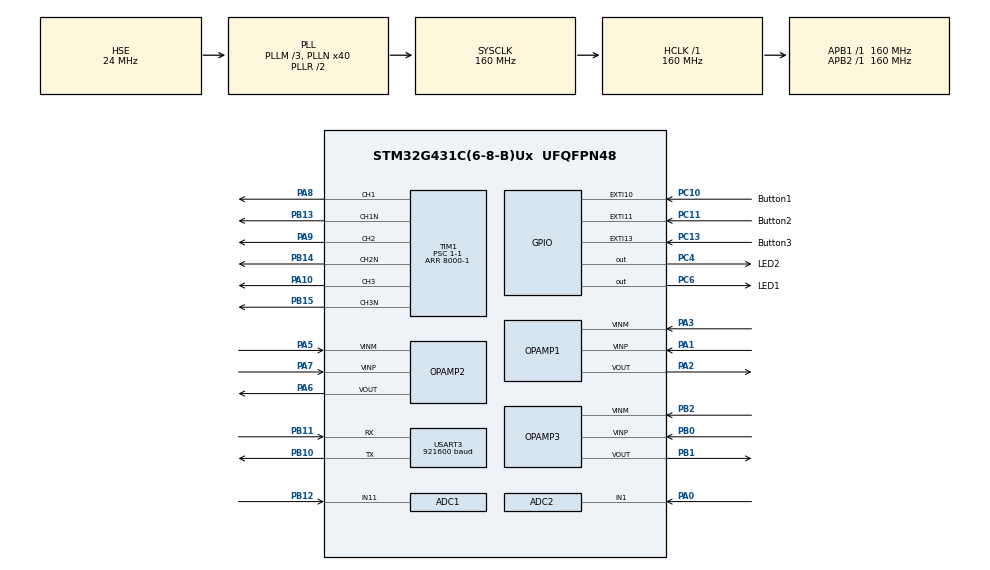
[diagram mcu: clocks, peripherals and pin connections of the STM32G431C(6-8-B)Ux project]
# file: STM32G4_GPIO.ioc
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ADC1.Channel-0\#ChannelRegularConversion=ADC_CHANNEL_11
ADC1.ClockPrescaler=ADC_CLOCK_ASYNC_DIV4
ADC1.EnableInjectedConversion=ENABLE
ADC1.ExternalTrigInjecConv=ADC_EXTERNALTRIGINJEC_T1_CC4
ADC1.InjNumberOfConversion=2
ADC1.InjectedChannel-1\#ChannelInjectedConversion=ADC_CHANNEL_3
ADC1.InjectedChannel-2\#ChannelInjectedConversion=ADC_CHANNEL_12
ADC1.InjectedOffsetNumber-1\#ChannelInjectedConversion=ADC_OFFSET_NONE
ADC1.InjectedOffsetNumber-2\#ChannelInjectedConversion=ADC_OFFSET_NONE
ADC1.InjectedRank-1\#ChannelInjectedConversion=1
ADC1.InjectedRank-2\#ChannelInjectedConversion=2
ADC1.InjectedSamplingTime-1\#ChannelInjectedConversion=ADC_SAMPLETIME_6CYCLES_5
ADC1.InjectedSamplingTime-2\#ChannelInjectedConversion=ADC_SAMPLETIME_6CYCLES_5
ADC1.NbrOfConversionFlag=1
ADC1.OffsetNumber-0\#ChannelRegularConversion=ADC_OFFSET_NONE
ADC1.Rank-0\#ChannelRegularConversion=1
ADC1.SamplingTime-0\#ChannelRegularConversion=ADC_SAMPLETIME_2CYCLES_5
ADC1.master=1
ADC2.Channel-2\#ChannelRegularConversion=ADC_CHANNEL_1
ADC2.ClockPrescaler=ADC_CLOCK_ASYNC_DIV4
ADC2.EnableInjectedConversion=ENABLE
ADC2.EnableRegularConversion=ENABLE
ADC2.ExternalTrigInjecConv=ADC_EXTERNALTRIGINJEC_T1_CC4
ADC2.InjNumberOfConversion=1
ADC2.InjectedChannel-1\#ChannelInjectedConversion=ADC_CHANNEL_3
ADC2.InjectedOffsetNumber-1\#ChannelInjectedConversion=ADC_OFFSET_NONE
ADC2.InjectedRank-1\#ChannelInjectedConversion=1
ADC2.InjectedSamplingTime-1\#ChannelInjectedConversion=ADC_SAMPLETIME_6CYCLES_5
ADC2.NbrOfConversionFlag=1
ADC2.OffsetNumber-2\#ChannelRegularConversion=ADC_OFFSET_NONE
ADC2.Rank-2\#ChannelRegularConversion=1
ADC2.SamplingTime-2\#ChannelRegularConversion=ADC_SAMPLETIME_2CYCLES_5
Dma.Request0=USART3_TX
Dma.USART3_TX.0.Direction=DMA_MEMORY_TO_PERIPH
Dma.USART3_TX.0.EventEnable=DISABLE
Dma.USART3_TX.0.Instance=DMA1_Channel1
Dma.USART3_TX.0.MemDataAlignment=DMA_MDATAALIGN_BYTE
Dma.USART3_TX.0.MemInc=DMA_MINC_ENABLE
Dma.USART3_TX.0.Mode=DMA_NORMAL
Dma.USART3_TX.0.PeriphDataAlignment=DMA_PDATAALIGN_BYTE
Dma.USART3_TX.0.PeriphInc=DMA_PINC_DISABLE
Dma.USART3_TX.0.Polarity=HAL_DMAMUX_REQ_GEN_RISING
Dma.USART3_TX.0.Priority=DMA_PRIORITY_LOW
Dma.USART3_TX.0.RequestNumber=1
Dma.USART3_TX.0.SignalID=NONE
Dma.USART3_TX.0.SyncEnable=DISABLE
Dma.USART3_TX.0.SyncPolarity=HAL_DMAMUX_SYNC_NO_EVENT
Dma.USART3_TX.0.SyncRequestNumber=1
Dma.USART3_TX.0.SyncSignalID=NONE
Mcu.Family=STM32G4
Mcu.Name=STM32G431C(6-8-B)Ux
Mcu.Package=UFQFPN48
NVIC.ADC1_2_IRQn=true\:0\:0\:false\:false\:true\:true\:true
NVIC.DMA1_Channel1_IRQn=true\:0\:0\:false\:false\:true\:false\:true
NVIC.EXTI15_10_IRQn=true\:0\:0\:false\:false\:true\:true\:true
NVIC.PriorityGroup=NVIC_PRIORITYGROUP_4
NVIC.TIM1_BRK_TIM15_IRQn=true\:0\:0\:false\:false\:true\:true\:true
NVIC.TIM1_CC_IRQn=true\:0\:0\:false\:false\:true\:true\:true
NVIC.TIM1_UP_TIM16_IRQn=true\:0\:0\:false\:false\:true\:true\:true
NVIC.USART3_IRQn=true\:0\:0\:false\:false\:true\:true\:true
PA0.Mode=IN1-Single-Ended
PA0.Signal=ADC2_IN1
PA1.Mode=Standalone
PA1.Signal=OPAMP1_VINP
PA10.Signal=S_TIM1_CH3
PA13.Mode=Serial_Wire
PA13.Signal=SYS_JTMS-SWDIO
PA14.Mode=Serial_Wire
PA14.Signal=SYS_JTCK-SWCLK
PA2.Signal=SharedAnalog_PA2
PA3.Mode=Standalone
PA3.Signal=OPAMP1_VINM
PA5.Mode=Standalone
PA5.Signal=OPAMP2_VINM
PA6.Signal=SharedAnalog_PA6
PA7.Mode=Standalone
PA7.Signal=OPAMP2_VINP
PA8.Signal=S_TIM1_CH1
PA9.Signal=S_TIM1_CH2
PB0.Mode=Standalone
PB0.Signal=OPAMP3_VINP
PB1.Signal=SharedAnalog_PB1
PB10.Mode=Asynchronous
PB10.Signal=USART3_TX
PB11.Mode=Asynchronous
PB11.Signal=USART3_RX
PB12.Mode=IN11-Single-Ended
PB12.Signal=ADC1_IN11
PB13.Mode=PWM Generation1 CH1 CH1N
PB13.Signal=TIM1_CH1N
PB14.Mode=PWM Generation2 CH2 CH2N
PB14.Signal=TIM1_CH2N
PB15.Mode=PWM Generation3 CH3 CH3N
PB15.Signal=TIM1_CH3N
PB2.Mode=Standalone
PB2.Signal=OPAMP3_VINM
PC10.GPIO_Label=Button1
PC10.Signal=GPXTI10
PC11.GPIO_Label=Button2
PC11.Signal=GPXTI11
PC13.GPIO_Label=Button3
PC13.Signal=GPXTI13
PC4.GPIO_Label=LED2
PC4.Signal=GPIO_Output
PC6.GPIO_Label=LED1
PC6.Signal=GPIO_Output
PF0-OSC_IN.Mode=HSE-External-Oscillator
PF0-OSC_IN.Signal=RCC_OSC_IN
PF1-OSC_OUT.Mode=HSE-External-Oscillator
PF1-OSC_OUT.Signal=RCC_OSC_OUT
ProjectManager.HeapSize=0x200
ProjectManager.StackSize=0x400
ProjectManager.TargetToolchain=MDK-ARM V5.32
RCC.ADC12Freq_Value=160000000
RCC.AHBFreq_Value=160000000
RCC.APB1Freq_Value=160000000
RCC.APB1TimFreq_Value=160000000
RCC.APB2Freq_Value=160000000
RCC.APB2TimFreq_Value=160000000
RCC.CortexFreq_Value=160000000
RCC.EXTERNAL_CLOCK_VALUE=12288000
RCC.HCLKFreq_Value=160000000
RCC.HSE_VALUE=24000000
RCC.HSI48_VALUE=48000000
RCC.HSI_VALUE=16000000
RCC.LSE_VALUE=32768
RCC.PLLM=RCC_PLLM_DIV3
RCC.PLLN=40
RCC.PLLSourceVirtual=RCC_PLLSOURCE_HSE
RCC.SYSCLKFreq_VALUE=160000000
RCC.SYSCLKSource=RCC_SYSCLKSOURCE_PLLCLK
RCC.USBFreq_Value=160000000
RCC.VCOOutputFreq_Value=320000000
SH.S_TIM1_CH1.0=TIM1_CH1,PWM Generation1 CH1 CH1N
SH.S_TIM1_CH2.0=TIM1_CH2,PWM Generation2 CH2 CH2N
SH.S_TIM1_CH3.0=TIM1_CH3,PWM Generation3 CH3 CH3N
SH.SharedAnalog_PA2.0=OPAMP1_VOUT,Standalone
SH.SharedAnalog_PA2.1=ADC1_IN3,IN3-Single-Ended
SH.SharedAnalog_PA6.0=OPAMP2_VOUT,Standalone
SH.SharedAnalog_PA6.1=ADC2_IN3,IN3-Single-Ended
SH.SharedAnalog_PB1.0=OPAMP3_VOUT,Standalone
SH.SharedAnalog_PB1.1=ADC1_IN12,IN12-Single-Ended
STMicroelectronics.X-CUBE-ALGOBUILD.1.3.0.LibraryCcDSPOoLibraryJjDSPOoLibrary=true
TIM1.Channel-PWM\ Generation1\ CH1\ CH1N=TIM_CHANNEL_1
TIM1.Channel-PWM\ Generation2\ CH2\ CH2N=TIM_CHANNEL_2
TIM1.Channel-PWM\ Generation3\ CH3\ CH3N=TIM_CHANNEL_3
TIM1.Channel-PWM\ Generation4\ No\ Output=TIM_CHANNEL_4
TIM1.ClockDivision=TIM_CLOCKDIVISION_DIV2
TIM1.CounterMode=TIM_COUNTERMODE_CENTERALIGNED1
TIM1.DeadTime=120
TIM1.OCMode_PWM-PWM\ Generation4\ No\ Output=TIM_OCMODE_PWM2
TIM1.PeriodNoDither=8000-1
TIM1.Prescaler=1-1
TIM1.PulseNoDither_4=8000-2
TIM1.RepetitionCounter=1
TIM1.TIM_MasterOutputTrigger=TIM_TRGO_OC4REF
USART3.BaudRate=921600
USART3.VirtualMode-Asynchronous=VM_ASYNC
VP_STMicroelectronics.X-CUBE-ALGOBUILD_VS_DSPOoLibraryJjLibrary_1.3.0_1.3.0.Mode=DSPOoLibraryJjLibrary
VP_SYS_VS_DBSignals.Mode=DisableDeadBatterySignals
VP_TIM1_VS_ClockSourceINT.Mode=Internal
VP_TIM1_VS_no_output4.Mode=PWM Generation4 No Output
board=custom

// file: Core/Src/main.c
/* USER CODE BEGIN Header */
/**
  ******************************************************************************
  * @file           : main.c
  * @brief          : Main program body
  ******************************************************************************
  * @attention
  *
  * <h2><center>&copy; Copyright (c) 2023 STMicroelectronics.
  * All rights reserved.</center></h2>
  *
  * This software component is licensed by ST under BSD 3-Clause license,
  * the "License"; You may not use this file except in compliance with the
  * License. You may obtain a copy of the License at:
  *                        opensource.org/licenses/BSD-3-Clause
  *
  ******************************************************************************
  */
/* USER CODE END Header */
#include "main.h"
#include "adc.h"
#include "dma.h"
#include "opamp.h"
#include "tim.h"
#include "usart.h"
#include "gpio.h"

/* USER CODE BEGIN Includes */
#include <stdio.h>
#include <string.h>
#include "Clark_test.h"
/* USER CODE END Includes */

/* USER CODE BEGIN PV */
extern DMA_HandleTypeDef hdma_usart3_tx;
uint8_t DataB1[32] = "LED1 Toggle\r\n";
uint8_t DataB2[32] = "LED2 Toggle\r\n";
uint8_t DataB3[32] = "LED1 and LED2 Open\r\n";

#define RXBUFFERSIZE  256
char RxBuffer[RXBUFFERSIZE];
uint8_t aRxBuffer;
uint8_t Uart1_Rx_Cnt = 0;

float temp[5];
static uint8_t tempData[24] = {0,0,0,0,0,0,0,0,0,0,0,0,0,0,0,0,0,0,0,0,0,0,0x80,0x7F};
extern ExtY rtY;
extern real32_T ib;                    /* '<S3>/Sin1' */
extern real32_T ic;                    /* '<S3>/Sin2' */
extern real32_T ia;                    /* '<S3>/Sin' */
/* USER CODE END PV */

void SystemClock_Config(void);

int main(void)
{

  /* MCU Configuration--------------------------------------------------------*/

  /* Reset of all peripherals, Initializes the Flash interface and the Systick. */
  HAL_Init();

  /* Configure the system clock */
  SystemClock_Config();

  /* Initialize all configured peripherals */
  MX_GPIO_Init();
  MX_DMA_Init();
  MX_USART3_UART_Init();
  MX_ADC1_Init();
  MX_ADC2_Init();
  MX_OPAMP1_Init();
  MX_OPAMP2_Init();
  MX_OPAMP3_Init();
  MX_TIM1_Init();
  /* USER CODE BEGIN 2 */
	HAL_OPAMP_Start(&hopamp1);
	HAL_OPAMP_Start(&hopamp2);
	HAL_OPAMP_Start(&hopamp3);
	HAL_UART_Receive_IT(&huart3, (uint8_t *)&aRxBuffer, 1);
	HAL_ADCEx_Calibration_Start( &hadc1, ADC_SINGLE_ENDED);
	HAL_ADCEx_Calibration_Start( &hadc2, ADC_SINGLE_ENDED);
	TIM1->ARR = 8000 - 1;
	TIM1->CCR4 = 8000 - 2;
	HAL_TIM_Base_Start( &htim1);
//	HAL_TIM_PWM_Start( &htim1, TIM_CHANNEL_1);
//	HAL_TIM_PWM_Start( &htim1, TIM_CHANNEL_2);
//	HAL_TIM_PWM_Start( &htim1, TIM_CHANNEL_3);
	HAL_TIM_PWM_Start( &htim1, TIM_CHANNEL_4);
//	HAL_TIMEx_PWMN_Start( &htim1, TIM_CHANNEL_1);
//	HAL_TIMEx_PWMN_Start( &htim1, TIM_CHANNEL_2);
//	HAL_TIMEx_PWMN_Start( &htim1, TIM_CHANNEL_3);
	HAL_ADCEx_InjectedStart_IT(&hadc1);
	HAL_ADCEx_InjectedStart(&hadc2);
  /* USER CODE END 2 */

  /* Infinite loop */
  /* USER CODE BEGIN WHILE */
  while (1)
  {
//		HAL_ADC_Start(&hadc1);
//		HAL_ADC_Start(&hadc2);
//		temp[3] = HAL_ADC_GetValue(&hadc1);
//		temp[3] = temp[3]*3.3f/4096;
//		temp[4] = HAL_ADC_GetValue(&hadc2);
//		temp[4] = temp[4]*3.3f/4096*26;
//		HAL_Delay(10);
    /* USER CODE END WHILE */

  }
}

void SystemClock_Config(void)
{
  RCC_OscInitTypeDef RCC_OscInitStruct = {0};
  RCC_ClkInitTypeDef RCC_ClkInitStruct = {0};
  RCC_PeriphCLKInitTypeDef PeriphClkInit = {0};

  /** Configure the main internal regulator output voltage
  */
  HAL_PWREx_ControlVoltageScaling(PWR_REGULATOR_VOLTAGE_SCALE1_BOOST);
  /** Initializes the RCC Oscillators according to the specified parameters
  * in the RCC_OscInitTypeDef structure.
  */
  RCC_OscInitStruct.OscillatorType = RCC_OSCILLATORTYPE_HSE;
  RCC_OscInitStruct.HSEState = RCC_HSE_ON;
  RCC_OscInitStruct.PLL.PLLState = RCC_PLL_ON;
  RCC_OscInitStruct.PLL.PLLSource = RCC_PLLSOURCE_HSE;
  RCC_OscInitStruct.PLL.PLLM = RCC_PLLM_DIV3;
  RCC_OscInitStruct.PLL.PLLN = 40;
  RCC_OscInitStruct.PLL.PLLP = RCC_PLLP_DIV2;
  RCC_OscInitStruct.PLL.PLLQ = RCC_PLLQ_DIV2;
  RCC_OscInitStruct.PLL.PLLR = RCC_PLLR_DIV2;
  if (HAL_RCC_OscConfig(&RCC_OscInitStruct) != HAL_OK)
  {
    Error_Handler();
  }
  /** Initializes the CPU, AHB and APB buses clocks
  */
  RCC_ClkInitStruct.ClockType = RCC_CLOCKTYPE_HCLK|RCC_CLOCKTYPE_SYSCLK
                              |RCC_CLOCKTYPE_PCLK1|RCC_CLOCKTYPE_PCLK2;
  RCC_ClkInitStruct.SYSCLKSource = RCC_SYSCLKSOURCE_PLLCLK;
  RCC_ClkInitStruct.AHBCLKDivider = RCC_SYSCLK_DIV1;
  RCC_ClkInitStruct.APB1CLKDivider = RCC_HCLK_DIV1;
  RCC_ClkInitStruct.APB2CLKDivider = RCC_HCLK_DIV1;

  if (HAL_RCC_ClockConfig(&RCC_ClkInitStruct, FLASH_LATENCY_4) != HAL_OK)
  {
    Error_Handler();
  }
  /** Initializes the peripherals clocks
  */
  PeriphClkInit.PeriphClockSelection = RCC_PERIPHCLK_USART3|RCC_PERIPHCLK_ADC12;
  PeriphClkInit.Usart3ClockSelection = RCC_USART3CLKSOURCE_PCLK1;
  PeriphClkInit.Adc12ClockSelection = RCC_ADC12CLKSOURCE_SYSCLK;
  if (HAL_RCCEx_PeriphCLKConfig(&PeriphClkInit) != HAL_OK)
  {
    Error_Handler();
  }
}

/* USER CODE BEGIN 4 */

//void HAL_GPIO_EXTI_Callback(uint16_t GPIO_Pin)
//{
//  /* Prevent unused argument(s) compilation warning */
//  UNUSED(GPIO_Pin);
//	if(Button1_Pin == GPIO_Pin)
//	{
//		HAL_GPIO_TogglePin(LED1_GPIO_Port,LED1_Pin);
//		printf("LED1 Toggle\r\n");
//	}
//	if(Button2_Pin == GPIO_Pin)
//	{
//		HAL_GPIO_TogglePin(LED2_GPIO_Port,LED2_Pin);
//		printf("LED2 Toggle\r\n");
//	}
//	if(Button3_Pin == GPIO_Pin)
//	{
//		HAL_GPIO_WritePin(LED1_GPIO_Port,LED1_Pin,GPIO_PIN_RESET);
//		HAL_GPIO_WritePin(LED2_GPIO_Port,LED2_Pin,GPIO_PIN_RESET);
//		printf("LED1 and LED2 Open\r\n");
//	}
//  /* NOTE: This function should not be modified, when the callback is needed,
//           the HAL_GPIO_EXTI_Callback could be implemented in the user file
//   */
//}

void HAL_GPIO_EXTI_Callback(uint16_t GPIO_Pin)
{
  /* Prevent unused argument(s) compilation warning */
  UNUSED(GPIO_Pin);
	if(Button1_Pin == GPIO_Pin)
	{
		HAL_GPIO_TogglePin(LED1_GPIO_Port,LED1_Pin);
		while(HAL_DMA_GetState(&hdma_usart3_tx) != HAL_DMA_STATE_READY);
		HAL_UART_Transmit_DMA(&huart3,DataB1,sizeof(DataB1));
	}
	if(Button2_Pin == GPIO_Pin)
	{
		HAL_GPIO_TogglePin(LED2_GPIO_Port,LED2_Pin);
		while(HAL_DMA_GetState(&hdma_usart3_tx) != HAL_DMA_STATE_READY);
		HAL_UART_Transmit_DMA(&huart3,DataB2,sizeof(DataB1));
	}
	if(Button3_Pin == GPIO_Pin)
	{
		HAL_GPIO_WritePin(LED1_GPIO_Port,LED1_Pin,GPIO_PIN_RESET);
		HAL_GPIO_WritePin(LED2_GPIO_Port,LED2_Pin,GPIO_PIN_RESET);
		while(HAL_DMA_GetState(&hdma_usart3_tx) != HAL_DMA_STATE_READY);
		HAL_UART_Transmit_DMA(&huart3,DataB3,sizeof(DataB1));
	}
  /* NOTE: This function should not be modified, when the callback is needed,
           the HAL_GPIO_EXTI_Callback could be implemented in the user file
   */
}

void HAL_UART_RxCpltCallback(UART_HandleTypeDef *huart)
{
  /* Prevent unused argument(s) compilation warning */
  UNUSED(huart);
	if(Uart1_Rx_Cnt >= 255)
	{
		Uart1_Rx_Cnt = 0;
		memset(RxBuffer,0x00,sizeof(RxBuffer));
		HAL_UART_Transmit(&huart3, (uint8_t *)"????", 10,0xFFFF);
	}
	else
	{
		RxBuffer[Uart1_Rx_Cnt++] = aRxBuffer;
//		Uart1_Rx_Cnt = 0;
//		memset(RxBuffer,0x00,sizeof(RxBuffer));
	}
	HAL_UART_Receive_IT(&huart3, (uint8_t *)&aRxBuffer, 1);
  /* NOTE: This function should not be modified, when the callback is needed,
           the HAL_UART_TxHalfCpltCallback can be implemented in the user file.
   */
}

int fputc(int ch, FILE *f)
{
 while ((USART3->ISR & 0X40) == 0);
 USART3->TDR = (uint8_t)ch;
 return ch;
}

void HAL_ADCEx_InjectedConvCpltCallback(ADC_HandleTypeDef *hadc)
{
  /* Prevent unused argument(s) compilation warning */
  UNUSED(hadc);
	if(hadc == &hadc1)
	{
//		temp[0] = hadc1.Instance->JDR1;
//		temp[0] = (temp[0] - 0x7ef)*0.02197f;
//		temp[1] = hadc1.Instance->JDR2;
//		temp[1] = (temp[1] - 0x7f5)*0.02197f;
//		temp[2] = hadc2.Instance->JDR1;
//		temp[2] = (temp[2] - 0x7e8)*0.02197f;
//		TIM1->CCR1 = 2000;
//		TIM1->CCR2 = 4000;
//		TIM1->CCR3 = 6000;
		Clark_test_step();
		temp[3] = rtY.ialpha;
		temp[4] = rtY.ibeta;
		temp[0] = ia;
		temp[1] = ib;
		temp[2] = ic;
		memcpy(tempData, (uint8_t *)&temp, sizeof(temp));
		HAL_UART_Transmit_DMA(&huart3,(uint8_t *)tempData,6*4);
	}

  /* NOTE : This function should not be modified. When the callback is needed,
            function HAL_ADCEx_InjectedConvCpltCallback must be implemented in the user file.
  */
}

/* USER CODE END 4 */

void Error_Handler(void)
{
  __disable_irq();
  while (1)
  {
  }
}

/************************ (C) COPYRIGHT STMicroelectronics *****END OF FILE****/
